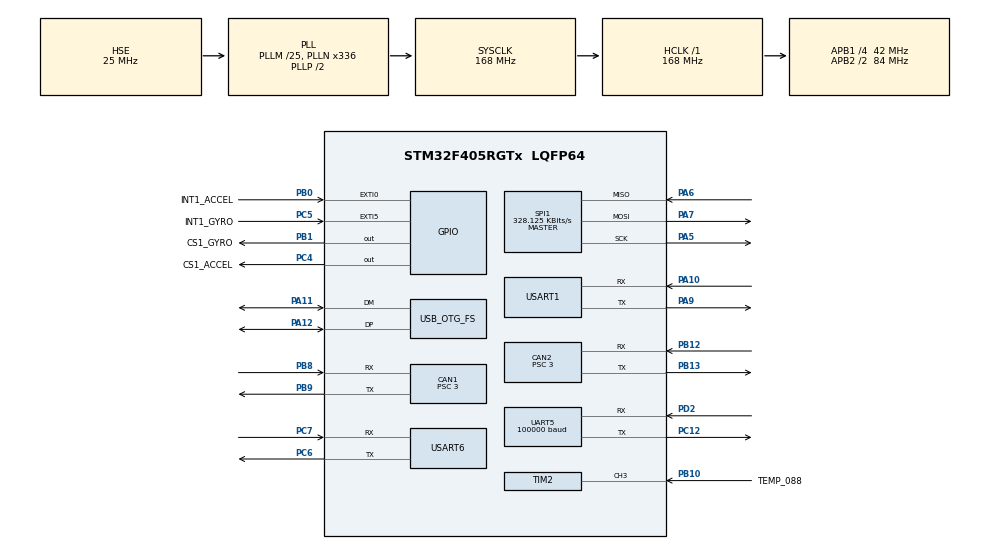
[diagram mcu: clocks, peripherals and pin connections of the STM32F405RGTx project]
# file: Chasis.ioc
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CAN1.ABOM=ENABLE
CAN1.BS1=CAN_BS1_9TQ
CAN1.BS2=CAN_BS2_4TQ
CAN1.CalculateBaudRate=1000000
CAN1.CalculateTimeBit=1000
CAN1.CalculateTimeQuantum=71.42857142857143
CAN1.NART=ENABLE
CAN1.Prescaler=3
CAN2.ABOM=ENABLE
CAN2.BS1=CAN_BS1_9TQ
CAN2.BS2=CAN_BS2_4TQ
CAN2.CalculateBaudRate=1000000
CAN2.CalculateTimeBit=1000
CAN2.CalculateTimeQuantum=71.42857142857143
CAN2.NART=ENABLE
CAN2.Prescaler=3
Dma.Request0=SPI1_RX
Dma.Request1=SPI1_TX
Dma.Request2=UART5_RX
Dma.Request3=USART1_RX
Dma.Request4=USART1_TX
Dma.Request5=USART6_RX
Dma.Request6=USART6_TX
Dma.SPI1_RX.0.Direction=DMA_PERIPH_TO_MEMORY
Dma.SPI1_RX.0.FIFOMode=DMA_FIFOMODE_DISABLE
Dma.SPI1_RX.0.Instance=DMA2_Stream0
Dma.SPI1_RX.0.MemDataAlignment=DMA_MDATAALIGN_BYTE
Dma.SPI1_RX.0.MemInc=DMA_MINC_ENABLE
Dma.SPI1_RX.0.Mode=DMA_NORMAL
Dma.SPI1_RX.0.PeriphDataAlignment=DMA_PDATAALIGN_BYTE
Dma.SPI1_RX.0.PeriphInc=DMA_PINC_DISABLE
Dma.SPI1_RX.0.Priority=DMA_PRIORITY_VERY_HIGH
Dma.SPI1_TX.1.Direction=DMA_MEMORY_TO_PERIPH
Dma.SPI1_TX.1.FIFOMode=DMA_FIFOMODE_DISABLE
Dma.SPI1_TX.1.Instance=DMA2_Stream3
Dma.SPI1_TX.1.MemDataAlignment=DMA_MDATAALIGN_BYTE
Dma.SPI1_TX.1.MemInc=DMA_MINC_ENABLE
Dma.SPI1_TX.1.Mode=DMA_NORMAL
Dma.SPI1_TX.1.PeriphDataAlignment=DMA_PDATAALIGN_BYTE
Dma.SPI1_TX.1.PeriphInc=DMA_PINC_DISABLE
Dma.SPI1_TX.1.Priority=DMA_PRIORITY_HIGH
Dma.UART5_RX.2.Direction=DMA_PERIPH_TO_MEMORY
Dma.UART5_RX.2.FIFOMode=DMA_FIFOMODE_DISABLE
Dma.UART5_RX.2.Instance=DMA1_Stream0
Dma.UART5_RX.2.MemDataAlignment=DMA_MDATAALIGN_BYTE
Dma.UART5_RX.2.MemInc=DMA_MINC_ENABLE
Dma.UART5_RX.2.Mode=DMA_NORMAL
Dma.UART5_RX.2.PeriphDataAlignment=DMA_PDATAALIGN_BYTE
Dma.UART5_RX.2.PeriphInc=DMA_PINC_DISABLE
Dma.UART5_RX.2.Priority=DMA_PRIORITY_LOW
Dma.USART1_RX.3.Direction=DMA_PERIPH_TO_MEMORY
Dma.USART1_RX.3.FIFOMode=DMA_FIFOMODE_DISABLE
Dma.USART1_RX.3.Instance=DMA2_Stream2
Dma.USART1_RX.3.MemDataAlignment=DMA_MDATAALIGN_BYTE
Dma.USART1_RX.3.MemInc=DMA_MINC_ENABLE
Dma.USART1_RX.3.Mode=DMA_NORMAL
Dma.USART1_RX.3.PeriphDataAlignment=DMA_PDATAALIGN_BYTE
Dma.USART1_RX.3.PeriphInc=DMA_PINC_DISABLE
Dma.USART1_RX.3.Priority=DMA_PRIORITY_LOW
Dma.USART1_TX.4.Direction=DMA_MEMORY_TO_PERIPH
Dma.USART1_TX.4.FIFOMode=DMA_FIFOMODE_DISABLE
Dma.USART1_TX.4.Instance=DMA2_Stream7
Dma.USART1_TX.4.MemDataAlignment=DMA_MDATAALIGN_BYTE
Dma.USART1_TX.4.MemInc=DMA_MINC_ENABLE
Dma.USART1_TX.4.Mode=DMA_NORMAL
Dma.USART1_TX.4.PeriphDataAlignment=DMA_PDATAALIGN_BYTE
Dma.USART1_TX.4.PeriphInc=DMA_PINC_DISABLE
Dma.USART1_TX.4.Priority=DMA_PRIORITY_LOW
Dma.USART6_RX.5.Direction=DMA_PERIPH_TO_MEMORY
Dma.USART6_RX.5.FIFOMode=DMA_FIFOMODE_DISABLE
Dma.USART6_RX.5.Instance=DMA2_Stream1
Dma.USART6_RX.5.MemDataAlignment=DMA_MDATAALIGN_BYTE
Dma.USART6_RX.5.MemInc=DMA_MINC_ENABLE
Dma.USART6_RX.5.Mode=DMA_NORMAL
Dma.USART6_RX.5.PeriphDataAlignment=DMA_PDATAALIGN_BYTE
Dma.USART6_RX.5.PeriphInc=DMA_PINC_DISABLE
Dma.USART6_RX.5.Priority=DMA_PRIORITY_LOW
Dma.USART6_TX.6.Direction=DMA_MEMORY_TO_PERIPH
Dma.USART6_TX.6.FIFOMode=DMA_FIFOMODE_DISABLE
Dma.USART6_TX.6.Instance=DMA2_Stream6
Dma.USART6_TX.6.MemDataAlignment=DMA_MDATAALIGN_BYTE
Dma.USART6_TX.6.MemInc=DMA_MINC_ENABLE
Dma.USART6_TX.6.Mode=DMA_NORMAL
Dma.USART6_TX.6.PeriphDataAlignment=DMA_PDATAALIGN_BYTE
Dma.USART6_TX.6.PeriphInc=DMA_PINC_DISABLE
Dma.USART6_TX.6.Priority=DMA_PRIORITY_LOW
FREERTOS.Queues01=CANRXQueue,16,CanRxFrame_t,0,Dynamic,NULL,NULL;USBRXQueue,16,UsbRxFrame_t,0,Dynamic,NULL,NULL
FREERTOS.Tasks01=RC_Task,16,512,StartRC_Task,As weak,NULL,Dynamic,NULL,NULL;Gimbal_Task,41,512,StartGimbal_Task,As weak,NULL,Dynamic,NULL,NULL;Chassis_Task,32,512,StartChassis_Task,As weak,NULL,Dynamic,NULL,NULL;Vision_Task,25,256,StartVision_Task,As weak,NULL,Dynamic,NULL,NULL;INSTask,48,256,StartINSTask,As weak,NULL,Dynamic,NULL,NULL
Mcu.Family=STM32F4
Mcu.Name=STM32F405RGTx
Mcu.Package=LQFP64
NVIC.CAN1_RX0_IRQn=true\:5\:0\:false\:false\:true\:true\:true\:true\:true
NVIC.CAN1_RX1_IRQn=true\:5\:0\:false\:false\:true\:true\:true\:true\:true
NVIC.CAN2_RX0_IRQn=true\:5\:0\:false\:false\:true\:true\:true\:true\:true
NVIC.CAN2_RX1_IRQn=true\:5\:0\:false\:false\:true\:true\:true\:true\:true
NVIC.DMA1_Stream0_IRQn=true\:5\:0\:false\:false\:true\:true\:false\:true\:true
NVIC.DMA2_Stream0_IRQn=true\:5\:0\:false\:false\:true\:true\:false\:true\:true
NVIC.DMA2_Stream1_IRQn=true\:5\:0\:false\:false\:true\:true\:false\:true\:true
NVIC.DMA2_Stream2_IRQn=true\:5\:0\:false\:false\:true\:true\:false\:true\:true
NVIC.DMA2_Stream3_IRQn=true\:5\:0\:false\:false\:true\:true\:false\:true\:true
NVIC.DMA2_Stream6_IRQn=true\:5\:0\:false\:false\:true\:true\:false\:true\:true
NVIC.DMA2_Stream7_IRQn=true\:5\:0\:false\:false\:true\:true\:false\:true\:true
NVIC.OTG_FS_IRQn=true\:5\:0\:false\:false\:true\:true\:false\:true\:true
NVIC.PriorityGroup=NVIC_PRIORITYGROUP_4
NVIC.TIM4_IRQn=true\:15\:0\:false\:false\:true\:false\:false\:true\:true
NVIC.TimeBase=TIM4_IRQn
NVIC.TimeBaseIP=TIM4
NVIC.UART5_IRQn=true\:5\:0\:false\:false\:true\:true\:true\:true\:true
NVIC.USART1_IRQn=true\:5\:0\:false\:false\:true\:true\:false\:true\:true
NVIC.USART6_IRQn=true\:5\:0\:false\:false\:true\:true\:false\:true\:true
PA10.Mode=Asynchronous
PA10.Signal=USART1_RX
PA11.Mode=Device_Only
PA11.Signal=USB_OTG_FS_DM
PA12.Mode=Device_Only
PA12.Signal=USB_OTG_FS_DP
PA13.Mode=Serial_Wire
PA13.Signal=SYS_JTMS-SWDIO
PA14.Mode=Serial_Wire
PA14.Signal=SYS_JTCK-SWCLK
PA5.Mode=Full_Duplex_Master
PA5.Signal=SPI1_SCK
PA6.Mode=Full_Duplex_Master
PA6.Signal=SPI1_MISO
PA7.Mode=Full_Duplex_Master
PA7.Signal=SPI1_MOSI
PA9.Mode=Asynchronous
PA9.Signal=USART1_TX
PB0.GPIO_Label=INT1_ACCEL
PB0.GPIO_PuPd=GPIO_PULLUP
PB0.Signal=GPXTI0
PB1.GPIO_Label=CS1_GYRO
PB1.GPIO_PuPd=GPIO_PULLUP
PB1.GPIO_Speed=GPIO_SPEED_FREQ_HIGH
PB1.PinState=GPIO_PIN_SET
PB1.Signal=GPIO_Output
PB10.GPIO_Label=TEMP_088
PB10.Signal=S_TIM2_CH3
PB12.Mode=CAN_Activate
PB12.Signal=CAN2_RX
PB13.Mode=CAN_Activate
PB13.Signal=CAN2_TX
PB8.Mode=CAN_Activate
PB8.Signal=CAN1_RX
PB9.Mode=CAN_Activate
PB9.Signal=CAN1_TX
PC12.Mode=Asynchronous
PC12.Signal=UART5_TX
PC4.GPIO_Label=CS1_ACCEL
PC4.GPIO_PuPd=GPIO_PULLUP
PC4.GPIO_Speed=GPIO_SPEED_FREQ_HIGH
PC4.PinState=GPIO_PIN_SET
PC4.Signal=GPIO_Output
PC5.GPIO_Label=INT1_GYRO
PC5.GPIO_PuPd=GPIO_PULLUP
PC5.Signal=GPXTI5
PC6.Mode=Asynchronous
PC6.Signal=USART6_TX
PC7.Mode=Asynchronous
PC7.Signal=USART6_RX
PD2.Mode=Asynchronous
PD2.Signal=UART5_RX
PH0-OSC_IN.Mode=HSE-External-Oscillator
PH0-OSC_IN.Signal=RCC_OSC_IN
PH1-OSC_OUT.Mode=HSE-External-Oscillator
PH1-OSC_OUT.Signal=RCC_OSC_OUT
ProjectManager.HeapSize=0x200
ProjectManager.StackSize=0x400
ProjectManager.TargetToolchain=CMake
RCC.48MHZClocksFreq_Value=48000000
RCC.AHBFreq_Value=168000000
RCC.APB1CLKDivider=RCC_HCLK_DIV4
RCC.APB1Freq_Value=42000000
RCC.APB1TimFreq_Value=84000000
RCC.APB2CLKDivider=RCC_HCLK_DIV2
RCC.APB2Freq_Value=84000000
RCC.APB2TimFreq_Value=168000000
RCC.CortexFreq_Value=168000000
RCC.HCLKFreq_Value=168000000
RCC.HSE_VALUE=25000000
RCC.HSI_VALUE=16000000
RCC.LSE_VALUE=32768
RCC.PLLM=25
RCC.PLLN=336
RCC.PLLQ=7
RCC.SYSCLKFreq_VALUE=168000000
RCC.SYSCLKSource=RCC_SYSCLKSOURCE_PLLCLK
RCC.VCOOutputFreq_Value=336000000
SH.S_TIM2_CH3.0=TIM2_CH3,Input_Capture3_from_TI3
SPI1.BaudRatePrescaler=SPI_BAUDRATEPRESCALER_256
SPI1.CLKPhase=SPI_PHASE_2EDGE
SPI1.CLKPolarity=SPI_POLARITY_HIGH
SPI1.CalculateBaudRate=328.125 KBits/s
SPI1.Direction=SPI_DIRECTION_2LINES
SPI1.Mode=SPI_MODE_MASTER
SPI1.VirtualType=VM_MASTER
TIM2.Channel-Input_Capture3_from_TI3=TIM_CHANNEL_3
UART5.BaudRate=100000
UART5.Parity=PARITY_EVEN
UART5.VirtualMode=Asynchronous
UART5.WordLength=WORDLENGTH_9B
USART1.VirtualMode=VM_ASYNC
USART6.VirtualMode=VM_ASYNC
USB_DEVICE.CLASS_NAME_FS=CDC
USB_DEVICE.VirtualMode-CDC_FS=Cdc
USB_DEVICE.VirtualModeFS=Cdc_FS
USB_OTG_FS.VirtualMode=Device_Only
VP_FREERTOS_VS_CMSIS_V2.Mode=CMSIS_V2
VP_SYS_VS_tim4.Mode=TIM4
VP_USB_DEVICE_VS_USB_DEVICE_CDC_FS.Mode=CDC_FS
board=custom

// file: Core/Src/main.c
/* USER CODE BEGIN Header */
/**
  ******************************************************************************
  * @file           : main.c
  * @brief          : Main program body
  ******************************************************************************
  * @attention
  *
  * Copyright (c) 2026 STMicroelectronics.
  * All rights reserved.
  *
  * This software is licensed under terms that can be found in the LICENSE file
  * in the root directory of this software component.
  * If no LICENSE file comes with this software, it is provided AS-IS.
  *
  ******************************************************************************
  */
/* USER CODE END Header */
#include "main.h"
#include "cmsis_os.h"
#include "can.h"
#include "dma.h"
#include "spi.h"
#include "tim.h"
#include "usart.h"
#include "usb_device.h"
#include "gpio.h"

/* USER CODE BEGIN PV */
/* fac_us/fac_ms：把系统时钟频率换算成延时循环需要的计数系数。 */
static uint8_t fac_us = 0;
static uint32_t fac_ms = 0;
/* USER CODE END PV */

void SystemClock_Config(void);
void MX_FREERTOS_Init(void);

int main(void)
{

  /* MCU Configuration--------------------------------------------------------*/

  /* Reset of all peripherals, Initializes the Flash interface and the Systick. */
  HAL_Init();

  /* Configure the system clock */
  SystemClock_Config();

  /* Initialize all configured peripherals */
  MX_GPIO_Init();
  MX_DMA_Init();
  MX_CAN1_Init();
  MX_CAN2_Init();
  MX_SPI1_Init();
  MX_TIM2_Init();
  MX_UART5_Init();
  MX_USART1_UART_Init();
  MX_USART6_UART_Init();

  /* Init scheduler */
  osKernelInitialize();  /* Call init function for freertos objects (in cmsis_os2.c) */
  MX_FREERTOS_Init();

  /* Start scheduler */
  osKernelStart();

  /* We should never get here as control is now taken by the scheduler */

  /* Infinite loop */
  while (1)
  {

  }
}

void SystemClock_Config(void)
{
  RCC_OscInitTypeDef RCC_OscInitStruct = {0};
  RCC_ClkInitTypeDef RCC_ClkInitStruct = {0};

  /** Configure the main internal regulator output voltage
  */
  __HAL_RCC_PWR_CLK_ENABLE();
  __HAL_PWR_VOLTAGESCALING_CONFIG(PWR_REGULATOR_VOLTAGE_SCALE1);

  /** Initializes the RCC Oscillators according to the specified parameters
  * in the RCC_OscInitTypeDef structure.
  */
  RCC_OscInitStruct.OscillatorType = RCC_OSCILLATORTYPE_HSE;
  RCC_OscInitStruct.HSEState = RCC_HSE_ON;
  RCC_OscInitStruct.PLL.PLLState = RCC_PLL_ON;
  RCC_OscInitStruct.PLL.PLLSource = RCC_PLLSOURCE_HSE;
  RCC_OscInitStruct.PLL.PLLM = 25;
  RCC_OscInitStruct.PLL.PLLN = 336;
  RCC_OscInitStruct.PLL.PLLP = RCC_PLLP_DIV2;
  RCC_OscInitStruct.PLL.PLLQ = 7;
  if (HAL_RCC_OscConfig(&RCC_OscInitStruct) != HAL_OK)
  {
    Error_Handler();
  }

  /** Initializes the CPU, AHB and APB buses clocks
  */
  RCC_ClkInitStruct.ClockType = RCC_CLOCKTYPE_HCLK|RCC_CLOCKTYPE_SYSCLK
                              |RCC_CLOCKTYPE_PCLK1|RCC_CLOCKTYPE_PCLK2;
  RCC_ClkInitStruct.SYSCLKSource = RCC_SYSCLKSOURCE_PLLCLK;
  RCC_ClkInitStruct.AHBCLKDivider = RCC_SYSCLK_DIV1;
  RCC_ClkInitStruct.APB1CLKDivider = RCC_HCLK_DIV4;
  RCC_ClkInitStruct.APB2CLKDivider = RCC_HCLK_DIV2;

  if (HAL_RCC_ClockConfig(&RCC_ClkInitStruct, FLASH_LATENCY_5) != HAL_OK)
  {
    Error_Handler();
  }
}

/* USER CODE BEGIN 4 */
/****************************************************************
 * 函数名:Delay_Init
 * 功能说明:延时初始化
 * 形参:无
 * 返回值:无
 * *********************************************************** */
void Delays_Init(void)
{
  fac_us = SystemCoreClock / 1000000;
  fac_ms = SystemCoreClock / 1000;
}

/****************************************************************
 * 函数名:Delay_us
 * 功能说明:us延时
 * 形参:t(需要延时的时间长度 以毫秒为单位)
 * 返回值:无
 * *********************************************************** */
void Delay_us(uint16_t nus)
{
  uint32_t ticks = 0;
  uint32_t told = 0;
  uint32_t tnow = 0;
  uint32_t tcnt = 0;
  uint32_t reload = 0;
  reload = SysTick->LOAD;
  ticks = nus * fac_us;
  told = SysTick->VAL;
  while (1)
  {
    tnow = SysTick->VAL;
    if (tnow != told)
    {
      if (tnow < told)
      {
        tcnt += told - tnow;
      }
      else
      {
        tcnt += reload - tnow + told;
      }
      told = tnow;
      if (tcnt >= ticks)
      {
        break;
      }
    }
  }
}

/****************************************************************
 * 函数名:delay_ms
 * 功能说明:ms延时
 * 形参:t(需要延时的时间长度 以毫秒为单位)
 * 返回值:无
 * *********************************************************** */
void Delay_ms(uint16_t nms)
{

  uint32_t ticks = 0;
  uint32_t told = 0;
  uint32_t tnow = 0;
  uint32_t tcnt = 0;
  uint32_t reload = 0;
  reload = SysTick->LOAD;
  ticks = nms * fac_ms;
  told = SysTick->VAL;
  while (1)
  {
    tnow = SysTick->VAL;
    if (tnow != told)
    {
      if (tnow < told)
      {
        tcnt += told - tnow;
      }
      else
      {
        tcnt += reload - tnow + told;
      }
      told = tnow;
      if (tcnt >= ticks)
      {
        break;
      }
    }
  }
}

/* USER CODE END 4 */

void HAL_TIM_PeriodElapsedCallback(TIM_HandleTypeDef *htim)
{
  if (htim->Instance == TIM4)
  {
    HAL_IncTick();
  }
}

void Error_Handler(void)
{
  __disable_irq();
  while (1)
  {
  }
}

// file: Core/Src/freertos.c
/* USER CODE BEGIN Header */
/**
  ******************************************************************************
  * File Name          : freertos.c
  * Description        : Code for freertos applications
  ******************************************************************************
  * @attention
  *
  * Copyright (c) 2026 STMicroelectronics.
  * All rights reserved.
  *
  * This software is licensed under terms that can be found in the LICENSE file
  * in the root directory of this software component.
  * If no LICENSE file comes with this software, it is provided AS-IS.
  *
  ******************************************************************************
  */
/* USER CODE END Header */

#include "FreeRTOS.h"
#include "task.h"
#include "main.h"
#include "cmsis_os.h"

/* USER CODE BEGIN Includes */
#include "reg.h"
/* USER CODE END Includes */

/* Definitions for RC_Task */
osThreadId_t RC_TaskHandle;
const osThreadAttr_t RC_Task_attributes = {
  .name = "RC_Task",
  .stack_size = 512 * 4,
  .priority = (osPriority_t) osPriorityBelowNormal,
};
/* Definitions for Gimbal_Task */
osThreadId_t Gimbal_TaskHandle;
const osThreadAttr_t Gimbal_Task_attributes = {
  .name = "Gimbal_Task",
  .stack_size = 512 * 4,
  .priority = (osPriority_t) osPriorityHigh1,
};
/* Definitions for Chassis_Task */
osThreadId_t Chassis_TaskHandle;
const osThreadAttr_t Chassis_Task_attributes = {
  .name = "Chassis_Task",
  .stack_size = 512 * 4,
  .priority = (osPriority_t) osPriorityAboveNormal,
};
/* Definitions for Vision_Task */
osThreadId_t Vision_TaskHandle;
const osThreadAttr_t Vision_Task_attributes = {
  .name = "Vision_Task",
  .stack_size = 256 * 4,
  .priority = (osPriority_t) osPriorityNormal1,
};
/* Definitions for INSTask */
osThreadId_t INSTaskHandle;
const osThreadAttr_t INSTask_attributes = {
  .name = "INSTask",
  .stack_size = 256 * 4,
  .priority = (osPriority_t) osPriorityRealtime,
};
/* Definitions for CANRXQueue */
osMessageQueueId_t CANRXQueueHandle;
const osMessageQueueAttr_t CANRXQueue_attributes = {
  .name = "CANRXQueue"
};
/* Definitions for USBRXQueue */
osMessageQueueId_t USBRXQueueHandle;
const osMessageQueueAttr_t USBRXQueue_attributes = {
  .name = "USBRXQueue"
};

void StartRC_Task(void *argument);
void StartGimbal_Task(void *argument);
void StartChassis_Task(void *argument);
void StartVision_Task(void *argument);
void StartINSTask(void *argument);

extern void MX_USB_DEVICE_Init(void);
void MX_FREERTOS_Init(void); /* (MISRA C 2004 rule 8.1) */

void MX_FREERTOS_Init(void) {

  /* Create the queue(s) */
  /* creation of CANRXQueue */
  CANRXQueueHandle = osMessageQueueNew (16, sizeof(CanRxFrame_t), &CANRXQueue_attributes);

  /* creation of USBRXQueue */
  USBRXQueueHandle = osMessageQueueNew (16, sizeof(UsbRxFrame_t), &USBRXQueue_attributes);

  /* Create the thread(s) */
  /* creation of RC_Task */
  RC_TaskHandle = osThreadNew(StartRC_Task, NULL, &RC_Task_attributes);

  /* creation of Gimbal_Task */
  Gimbal_TaskHandle = osThreadNew(StartGimbal_Task, NULL, &Gimbal_Task_attributes);

  /* creation of Chassis_Task */
  Chassis_TaskHandle = osThreadNew(StartChassis_Task, NULL, &Chassis_Task_attributes);

  /* creation of Vision_Task */
  Vision_TaskHandle = osThreadNew(StartVision_Task, NULL, &Vision_Task_attributes);

  /* creation of INSTask */
  INSTaskHandle = osThreadNew(StartINSTask, NULL, &INSTask_attributes);

}

__weak void StartRC_Task(void *argument)
{
  /* init code for USB_DEVICE */
  MX_USB_DEVICE_Init();
  for(;;)
  {
    osDelay(1);
  }
}

__weak void StartGimbal_Task(void *argument)
{
  for(;;)
  {
    osDelay(1);
  }
}

__weak void StartChassis_Task(void *argument)
{
  for(;;)
  {
    osDelay(1);
  }
}

__weak void StartVision_Task(void *argument)
{
  for(;;)
  {
    osDelay(1);
  }
}

__weak void StartINSTask(void *argument)
{
  for(;;)
  {
    osDelay(1);
  }
}
